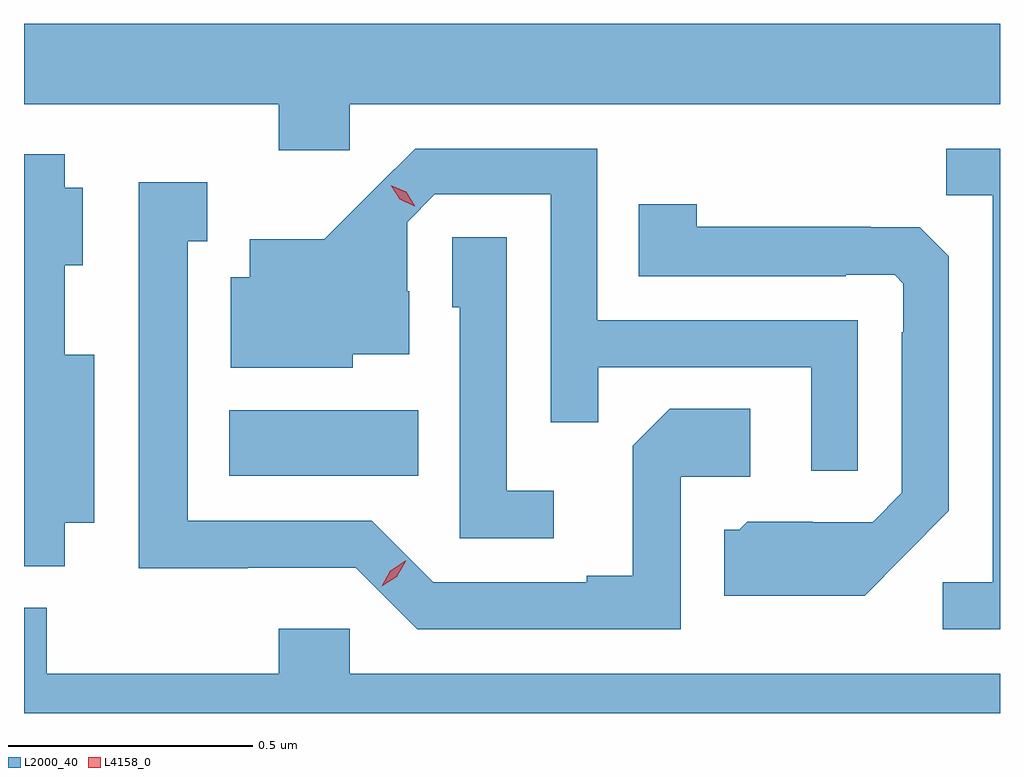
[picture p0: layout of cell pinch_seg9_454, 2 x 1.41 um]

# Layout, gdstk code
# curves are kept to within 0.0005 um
import gdstk
lib = gdstk.Library(unit=1e-6, precision=1e-09)
def R(c, l, rs):  # rectangles x0, y0, x1, y1
    for r in rs: c.add(gdstk.rectangle(r[:2], r[2:], *l))
def P(c, l, *ps):  # polygons
    for p in ps: c.add(gdstk.Polygon(p, *l))
L2000_40 = (2000, 40)
L4158_0 = (4158, 0)

pinch_seg9_454 = lib.new_cell('pinch_seg9_454')
R(pinch_seg9_454, L2000_40, [(246.371,1219.634,246.758,1219.768)])
P(pinch_seg9_454, L2000_40, [(246.618,1220.396),(247.95,1220.396),(247.95,1220.56),(245.95,1220.56),(245.95,1220.396),(246.472,1220.396),(246.472,1220.301),(246.618,1220.301)],
  [(247.659,1219.953),(247.125,1219.953),(247.125,1220.304),(246.752,1220.304),(246.565,1220.119),(246.413,1220.119),(246.413,1220.041),(246.374,1220.041),(246.374,1219.856),(246.624,1219.856),(246.624,1219.883),(246.739,1219.883),(246.739,1220.012),(246.735,1220.012),(246.735,1220.154),(246.792,1220.211),(247.029,1220.211),(247.029,1219.744),(247.127,1219.744),(247.127,1219.857),(247.563,1219.857),(247.563,1219.644),(247.659,1219.644)],
  [(247.95,1220.304),(247.84,1220.304),(247.84,1220.209),(247.935,1220.209),(247.935,1219.416),(247.833,1219.416),(247.833,1219.32),(247.95,1219.32)],
  [(246.034,1219.538),(246.094,1219.538),(246.094,1219.882),(246.034,1219.882),(246.034,1220.066),(246.07,1220.066),(246.07,1220.224),(246.034,1220.224),(246.034,1220.293),(245.95,1220.293),(245.95,1219.449),(246.034,1219.449)],
  [(247.296,1219.632),(247.438,1219.632),(247.438,1219.772),(247.273,1219.772),(247.197,1219.696),(247.197,1219.429),(247.103,1219.429),(247.103,1219.416),(246.789,1219.416),(246.663,1219.542),(246.286,1219.542),(246.286,1220.115),(246.325,1220.115),(246.325,1220.236),(246.185,1220.236),(246.185,1219.445),(246.408,1219.445),(246.408,1219.446),(246.63,1219.446),(246.756,1219.32),(247.296,1219.32)],
  [(247.753,1219.469),(247.845,1219.562),(247.845,1220.084),(247.786,1220.143),(247.685,1220.143),(247.685,1220.144),(247.329,1220.144),(247.329,1220.191),(247.21,1220.191),(247.21,1220.043),(247.634,1220.043),(247.634,1220.046),(247.734,1220.046),(247.752,1220.028),(247.752,1219.928),(247.749,1219.928),(247.749,1219.599),(247.689,1219.539),(247.566,1219.539),(247.566,1219.54),(247.432,1219.54),(247.416,1219.524),(247.385,1219.524),(247.385,1219.388),(247.673,1219.388)],
  [(247.036,1219.603),(246.939,1219.603),(246.939,1220.123),(246.828,1220.123),(246.828,1219.98),(246.843,1219.98),(246.843,1219.506),(247.036,1219.506)],
  [(247.95,1219.228),(246.618,1219.228),(246.618,1219.321),(246.472,1219.321),(246.472,1219.228),(245.997,1219.228),(245.997,1219.364),(245.95,1219.364),(245.95,1219.148),(247.95,1219.148)])
P(pinch_seg9_454, L4158_0, [(246.75,1220.186),(246.72,1220.201),(246.702,1220.23),(246.702,1220.23),(246.702,1220.23),(246.733,1220.216),(246.751,1220.187),(246.751,1220.186)],
  [(246.683,1219.408),(246.683,1219.408),(246.7,1219.44),(246.731,1219.46),(246.732,1219.46),(246.732,1219.459),(246.714,1219.427),(246.683,1219.408)])

lib.write_gds('pinch_seg9_454.gds')
